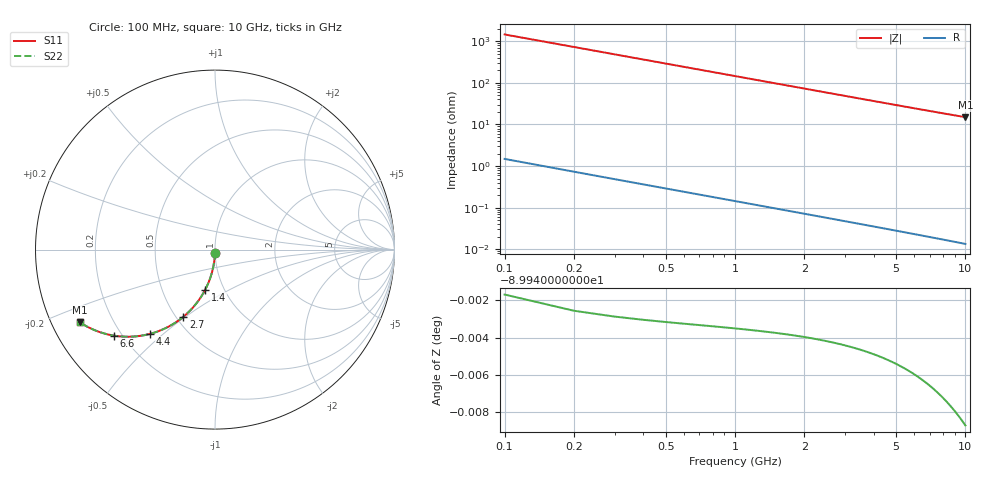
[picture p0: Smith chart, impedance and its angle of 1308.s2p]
# Hz S RI R 50.00
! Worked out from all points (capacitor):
!   100 points, 100 MHz to 10 GHz, reference 50 ohm
!   read as one part in shunt: C = 1.09 pF near 100 MHz
!   lowest |Z| = 15 ohm at 10 GHz (marker M1)
!   S11 on the Smith chart (normalised r, x): 100 MHz: 1.00, -0.03; 1.4 GHz: 0.81, -0.38; 2.7 GHz: 0.54, -0.49; 4.4 GHz: 0.31, -0.45; 6.6 GHz: 0.17, -0.36; 10 GHz: 0.08, -0.25
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1e8  -0.000261 -0.0169  0.9996 -0.0174  0.9996 -0.0174  -0.000261 -0.0169
2e8  -0.00116 -0.0337  0.9987 -0.0347  0.9987 -0.0347  -0.00116 -0.0337
3e8  -0.00263 -0.0505  0.9973 -0.052  0.9973 -0.052  -0.00263 -0.0505
4e8  -0.00469 -0.0672  0.9952 -0.0692  0.9952 -0.0692  -0.00469 -0.0672
5e8  -0.00732 -0.0838  0.9926 -0.0862  0.9926 -0.0862  -0.00732 -0.0838
6e8  -0.0105 -0.1003  0.9894 -0.1031  0.9894 -0.1031  -0.0105 -0.1003
7e8  -0.0142 -0.1165  0.9857 -0.1199  0.9857 -0.1199  -0.0142 -0.1165
9e8  -0.0233 -0.1484  0.9766 -0.1528  0.9766 -0.1528  -0.0233 -0.1484
1.1e9  -0.0344 -0.1793  0.9655 -0.1846  0.9655 -0.1846  -0.0344 -0.1793
1.4e9  -0.0546 -0.2234  0.9453 -0.2302  0.9453 -0.2302  -0.0546 -0.2234
1.8e9  -0.0871 -0.2773  0.9127 -0.286  0.9127 -0.286  -0.0871 -0.2773
2.2e9  -0.1248 -0.3248  0.875 -0.3354  0.875 -0.3354  -0.1248 -0.3248
2.7e9  -0.1769 -0.3747  0.8229 -0.3877  0.8229 -0.3877  -0.1769 -0.3747
3.4e9  -0.2545 -0.4269  0.7453 -0.4434  0.7453 -0.4434  -0.2545 -0.4269
4.4e9  -0.3642 -0.47  0.6354 -0.4915  0.6354 -0.4915  -0.3642 -0.47
5.1e9  -0.4354 -0.4828  0.5642 -0.5078  0.5642 -0.5078  -0.4354 -0.4828
5.8e9  -0.4998 -0.4852  0.4996 -0.5138  0.4996 -0.5138  -0.4998 -0.4852
6.6e9  -0.5647 -0.4789  0.4346 -0.5116  0.4346 -0.5116  -0.5647 -0.4789
6.7e9  -0.5722 -0.4776  0.4271 -0.5108  0.4271 -0.5108  -0.5722 -0.4776
7.5e9  -0.627 -0.4643  0.3722 -0.5017  0.3722 -0.5017  -0.627 -0.4643
8.4e9  -0.679 -0.4451  0.32 -0.4872  0.32 -0.4872  -0.679 -0.4451
1e10  -0.7511 -0.4061  0.2475 -0.4567  0.2475 -0.4567  -0.7511 -0.4061
